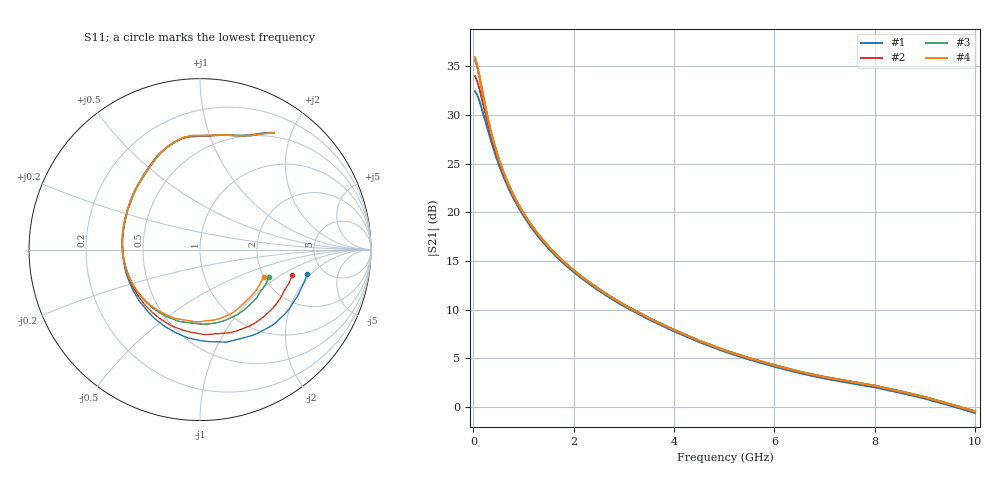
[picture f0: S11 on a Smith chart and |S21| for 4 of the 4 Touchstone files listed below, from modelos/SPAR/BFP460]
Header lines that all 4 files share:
! Infineon Technologies  Discrete & RF Semiconductors
! BFP460
! Common Emitter S-Parameters:  Jan 2016
# GHz  S  MA  R  50
!  f  S11  S21  S12  S22
! GHz  MAG  ANG  MAG  ANG  MAG  ANG  MAG  ANG
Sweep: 30 MHz to 10 GHz
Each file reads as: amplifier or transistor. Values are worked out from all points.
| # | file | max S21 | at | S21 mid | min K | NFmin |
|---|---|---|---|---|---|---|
| 1 | BFP460_w_noise_VCE_4.0V_IC_18mA.s2p | 32.4 dB | 30 MHz | 14.8 dB at 1.78 GHz | 0.17 | 1.13 dB |
| 2 | BFP460_w_noise_VCE_4.0V_IC_25mA.s2p | 34.0 dB | 30 MHz | 15.0 dB at 1.78 GHz | 0.20 | 1.36 dB |
| 3 | BFP460_w_noise_VCE_4.0V_IC_40mA.s2p | 35.6 dB | 30 MHz | 15.0 dB at 1.78 GHz | 0.24 | 1.63 dB |
| 4 | BFP460_w_noise_VCE_4.0V_IC_45mA.s2p | 35.9 dB | 30 MHz | 15.0 dB at 1.78 GHz | 0.25 | 1.72 dB |

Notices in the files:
3_Circuitos_sintonizados/5_Ejercicios/1_entrega/borradores/ejercicios1/modelos/SPAR/BFP460/BFP460_w_noise_VCE_4.0V_IC_18mA.s2p:
(c) 2016  Infineon Technologies AG, Munich
